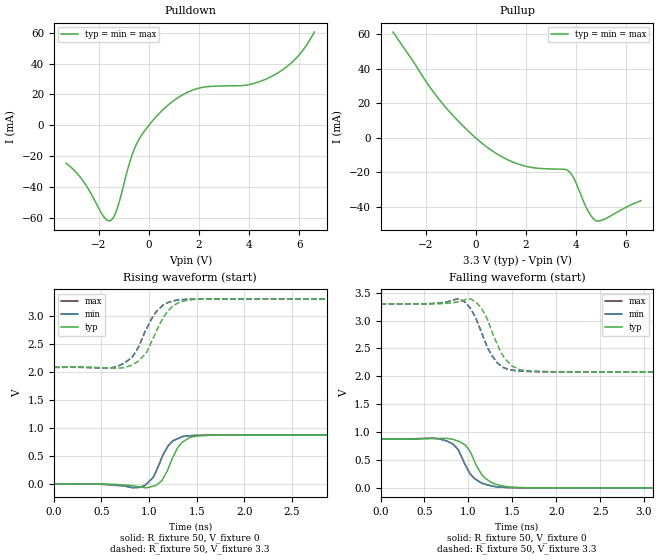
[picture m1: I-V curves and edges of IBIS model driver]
| IBIS file ex2_weak_probe.ibs created by PYS2IBIS3
| Missouri S&T EMC Lab
[IBIS Ver] 7.1
[File Name] ex2_weak_probe.ibs
[File Rev] 1.0
[Date] July 28, 2026
[Source] ex2 variant 'weak' -- output stage at half width
[Notes] Observation pass for parameter selection.
[Disclaimer] Experimental characterization for pybis observability study.
[Component] MCM Driver 1
[Manufacturer] MegaFLOPS Inc.
[Package]
| variable   typ   min   max
R_pkg 0 NA NA
L_pkg 0H NA NA
C_pkg 0F NA NA
[Pin]  signal_name   model_name   R_pin   L_pin   C_pin
vdd   vdd   POWER
gnd   gnd   GND
| in in dummy
out   out   driver
| End of Component
| Models and submodels in the file (1): driver (Output)
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[Model] driver
Model_type Output
Polarity Non-Inverting
Enable Active-Low
Vinl  = 0.8V
Vinh  = 2V
C_comp 5.0000pF 5.0000pF 5.0000pF
[Temperature Range] 27.0000 27.0000 27.0000
[Voltage Range] 3.3000V 3.3000V 3.3000V
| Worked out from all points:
|   slope of the pulldown table from 0 to 0.495 V, typ, clamps not added: 54.7 ohm
|   slope of the pullup table from 0 to 0.495 V, typ, clamps not added: 85.1 ohm
|   rising waveform, R_fixture 50, V_fixture 0: 20-80 % time 153ps typ, 150ps min, 150ps max; typ from 0 V to 0.876 V
|   rising waveform, R_fixture 50, V_fixture 3.3: 20-80 % time 219ps typ, 223ps min, 223ps max; typ from 2.08 V to 3.3 V
|   falling waveform, R_fixture 50, V_fixture 0: 20-80 % time 193ps typ, 190ps min, 190ps max; typ from 0.876 V to 0 V
|   falling waveform, R_fixture 50, V_fixture 3.3: 20-80 % time 208ps typ, 209ps min, 209ps max; typ from 3.3 V to 2.08 V
[Pulldown]
| Voltage   I(typ)   I(min)   I(max)
-3.3V     -24.71mA   -24.71mA   -24.71mA
-2.6V     -36.69mA   -36.69mA   -36.69mA
-1.8V     -59.35mA   -59.35mA   -59.35mA
-1.5V     -61.44mA   -61.44mA   -61.44mA
-1.3V     -55.57mA   -55.57mA   -55.57mA
-500mV    -12.32mA   -12.32mA   -12.32mA
600mV     10.7mA     10.7mA     10.7mA
1.9V      23.61mA    23.61mA    23.61mA
3.9V      26.05mA    26.05mA    26.05mA
4.9V      31.7mA     31.7mA     31.7mA
5.9V      43.88mA    43.88mA    43.88mA
6.6V      60.38mA    60.38mA    60.38mA
[Pullup]
| Voltage   I(typ)   I(min)   I(max)
-3.3V     61.37mA    61.37mA    61.37mA
-1.9V     30.97mA    30.97mA    30.97mA
-1.3V     19.49mA    19.49mA    19.49mA
-200mV    2.648mA    2.648mA    2.648mA
700mV     -7.897mA   -7.897mA   -7.897mA
2V        -16.47mA   -16.47mA   -16.47mA
3.7V      -19.09mA   -19.09mA   -19.09mA
3.9V      -22.93mA   -22.93mA   -22.93mA
4.5V      -42.81mA   -42.81mA   -42.81mA
4.8V      -48.13mA   -48.13mA   -48.13mA
5.1V      -47.39mA   -47.39mA   -47.39mA
6.6V      -36.41mA   -36.41mA   -36.41mA
[Ramp]
| variable   typ   min   max
dV/dt_r 0.5258/0.1528n 0.5258/0.1499n 0.5258/0.1499n
dV/dt_f 0.7314/0.208n 0.7314/0.2084n 0.7314/0.2084n
R_load = 50
[Rising Waveform]
R_fixture = 50
V_fixture = 0
|time   V(typ)   V(min)   V(max)
0s        5.892nV    5.892nV    5.892nV
888.9ps   -42.58mV   -58.87mV   -58.87mV
953ps     -60.81mV   -26.81mV   -26.81mV
1.065ns   -26.9mV    195.8mV    195.8mV
1.137ns   66.44mV    483mV      483mV
1.209ns   308.4mV    700.5mV    700.5mV
1.305ns   660.7mV    813.8mV    813.8mV
1.417ns   820.5mV    861.8mV    861.8mV
1.842ns   874.7mV    875.4mV    875.4mV
8ns       876.4mV    876.4mV    876.4mV
[Rising Waveform]
R_fixture = 50
V_fixture = 3.3
|time   V(typ)   V(min)   V(max)
0s        2.081V     2.081V     2.081V
592.6ps   2.069V     2.068V     2.068V
808.8ps   2.113V     2.241V     2.241V
888.9ps   2.194V     2.441V     2.441V
969ps     2.33V      2.751V     2.751V
1.073ns   2.714V     3.065V     3.065V
1.193ns   3.075V     3.231V     3.231V
1.353ns   3.254V     3.289V     3.289V
1.802ns   3.3V       3.3V       3.3V
8ns       3.3V       3.3V       3.3V
[Falling Waveform]
R_fixture = 50
V_fixture = 0
|time   V(typ)   V(min)   V(max)
0s        876.4mV    876.4mV    876.4mV
664.7ps   888.1mV    880.6mV    880.6mV
824.8ps   869.5mV    784.3mV    784.3mV
896.9ps   829.4mV    641.7mV    641.7mV
969ps     761.2mV    399.3mV    399.3mV
1.065ns   492.8mV    174.4mV    174.4mV
1.161ns   220mV      81.55mV    81.55mV
1.329ns   57.76mV    16.24mV    16.24mV
1.754ns   1.235mV    478.8uV    478.8uV
8ns       -17.32nV   -1.564uV   -1.564uV
[Falling Waveform]
R_fixture = 50
V_fixture = 3.3
|time   V(typ)   V(min)   V(max)
0s        3.3V       3.3V       3.3V
576.6ps   3.299V     3.304V     3.304V
888.9ps   3.337V     3.388V     3.388V
1.033ns   3.381V     3.192V     3.192V
1.153ns   3.209V     2.766V     2.766V
1.273ns   2.779V     2.362V     2.362V
1.409ns   2.331V     2.151V     2.151V
1.53ns    2.161V     2.103V     2.103V
1.946ns   2.083V     2.082V     2.082V
8ns       2.081V     2.081V     2.081V
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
